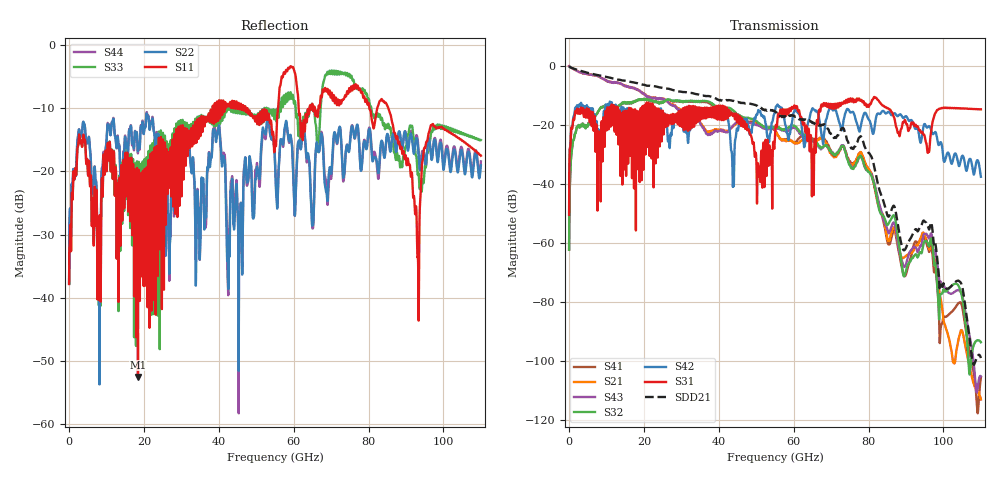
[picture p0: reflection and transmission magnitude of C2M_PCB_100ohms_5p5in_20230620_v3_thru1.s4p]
! Info: Touchstone file created by Circ.  Input file=C2M_PCB_100ohms_5p5in_20230620_v3.circ
# Hz S RI R 50
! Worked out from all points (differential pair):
!   11000 points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, 10 MHz to 110 GHz, reference 50 ohm
!   strongest paths, dB at 10 MHz, 27.51 GHz, 55.01 GHz, 82.51 GHz, 110 GHz:
!     S31: -50.5, -19.3, -23.6, -11.5, -14.7
!     S42: -50.4, -20.8, -15.2, -16.1, -37.6
!     S32: -62.3, -11.7, -20.8, -46.9, -93.7
!     S43: -0.1, -13.4, -21.2, -45.1, -105.3
!     S21: -0.1, -13.1, -21.8, -46.9, -113.1
!     S41: -62.3, -11.9, -22.0, -45.8, -105.6
!   taken as a pair (ports 3,1 in; 4,2 out), SDD21 dB: -0.1, -8.1, -15.5, -40.1, -99.1
!   lowest |S11| = -52.6 dB at 18.4 GHz (marker M1), VSWR 1.00, Z = 49.8 + j0.16 ohm
!   |S11| at or under -10 dB: start of sweep to 38.33 GHz; 47.62 GHz to 55.83 GHz (8.21 GHz wide, 15.9 % of centre); 85.3 GHz to end of sweep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
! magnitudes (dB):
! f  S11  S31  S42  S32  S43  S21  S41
! 10 MHz  -37.8  -50.5  -50.4  -62.3  -0.1  -0.1  -62.3
! 2.17 GHz  -16.8  -14.5  -13.4  -20.7  -1.8  -1.8  -20.7
! 18.4 GHz  -52.6  -25.2  -20.8  -11.5  -8.1  -8.1  -11.5
! 50.63 GHz  -11.1  -37.2  -15.1  -19.4  -20.3  -20.0  -20.1
! 77.93 GHz  -7.4  -11.7  -20.4  -30.5  -30.6  -29.2  -29.4
! 89.49 GHz  -17.5  -19.0  -17.5  -71.4  -68.1  -64.9  -71.1
! 110 GHz  -17.5  -14.7  -37.6  -93.7  -105.3  -113.1  -105.6
